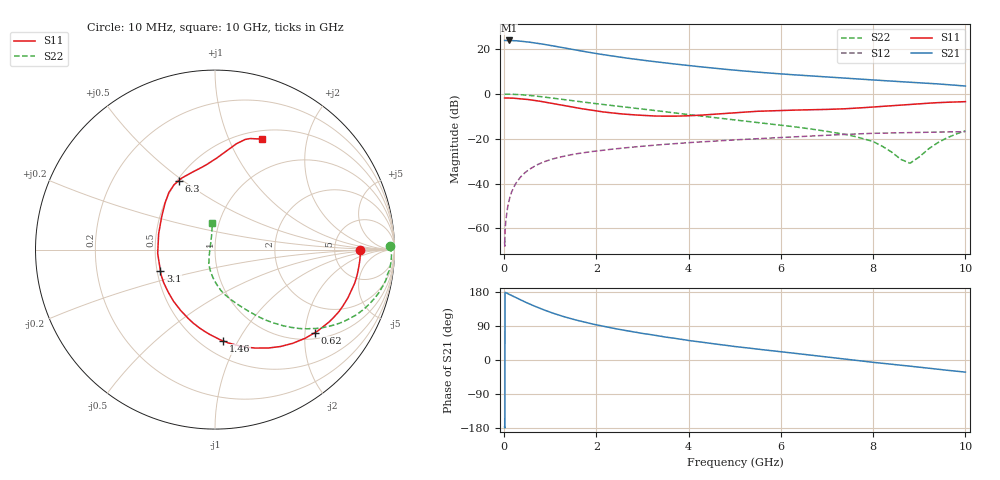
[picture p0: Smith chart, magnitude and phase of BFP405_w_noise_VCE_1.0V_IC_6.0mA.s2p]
! Infineon Technologies  Discrete & RF Semiconductors
! BFP405
! VCE =  1.0 V,  IC =  6.0 mA
! Common Emitter S-Parameters:  Jan 2016
# GHz  S  MA  R  50
!  f  S11  S21  S12  S22
! GHz  MAG  ANG  MAG  ANG  MAG  ANG  MAG  ANG
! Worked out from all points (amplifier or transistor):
!   233 points, 10 MHz to 10 GHz, reference 50 ohm
!   highest |S21| = 23.8 dB at 100 MHz (marker M1)
!   |S21| within 3 dB of that: start of sweep to 1.215 GHz
!   unconditionally stable (mu >= 1): start of sweep to 16.13 MHz; 3.037 GHz to end of sweep
!   at 200 MHz: K = 0.10, MSG = 32.9 dB, |S12| = -42.0 dB
!   at 1.74 GHz: K = 0.64, MSG = 22.5 dB, |S12| = -26.2 dB
!   at 10 GHz: K = 1.46, MAG = 6.2 dB, |S12| = -16.9 dB
!   lowest NFmin = 1.32 dB at 900 MHz
!   S11 on the Smith chart (normalised r, x): 10 MHz: 9.42, -0.08; 620 MHz: 1.16, -2.25; 1.46 GHz: 0.63, -0.87; 3.1 GHz: 0.52, -0.14; 6.3 GHz: 0.51, +0.48; 10 GHz: 0.60, +1.34
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0.01  0.8081 -0.1  15.51 -177.1  0.0005 -28.6  0.9778 1.1
0.015  0.8094 -0.7  15.5 -179.3  0.0004 66.8  0.9794 0.4
0.02  0.8108 -1.3  15.51 178.5  0.0009 100.4  0.9812 -0.3
0.1  0.8073 -6.5  15.53 173.7  0.0039 86.7  0.9847 -3.3
0.26  0.7921 -17.2  15.3 164.3  0.0103 82.0  0.9687 -8.9
0.4  0.7727 -26.4  14.86 156.1  0.0156 77.1  0.951 -13.4
0.62  0.7237 -39.8  13.9 144.1  0.0231 70.7  0.907 -20.0
0.8  0.678 -50.4  13.06 135.1  0.0286 66.1  0.8653 -25.0
1  0.6243 -61.4  12.04 126.0  0.034 61.8  0.8159 -29.7
1.46  0.5113 -84.8  9.889 108.7  0.0439 54.0  0.7077 -38.4
1.68  0.4669 -95.3  9.019 101.7  0.0479 51.2  0.6622 -41.7
2  0.4147 -110.3  7.927 92.7  0.0532 47.8  0.6034 -45.8
2.3  0.3781 -123.9  7.094 85.3  0.0577 45.1  0.5554 -49.1
3.1  0.326 -159.0  5.48 68.4  0.0693 38.9  0.4462 -57.0
3.4  0.3189 -171.8  5.027 62.6  0.0735 36.7  0.4095 -59.8
4  0.3259 164.5  4.278 51.5  0.0815 32.4  0.3442 -66.0
5.1  0.3854 135.3  3.304 34.3  0.0952 24.7  0.2548 -77.9
6.3  0.4339 117.9  2.653 17.7  0.11 16.7  0.1838 -89.0
6.8  0.4445 109.5  2.45 10.7  0.1166 13.1  0.1564 -94.1
8.4  0.5459 84.2  1.922 -11.2  0.1345 -0.8  0.0503 -130.2
8.8  0.5827 80.3  1.814 -16.3  0.1371 -4.1  0.0283 165.3
10  0.6696 66.8  1.493 -32.0  0.1431 -12.9  0.1501 95.7
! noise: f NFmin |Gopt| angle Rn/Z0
0.9  1.32  0.32  10  0.32
1.8  1.58  0.25  16  0.31
2.4  1.71  0.21  23  0.31
3  1.74  0.18  41  0.28
4  1.9  0.07  58  0.25
5  2.27  0.03  180  0.23
